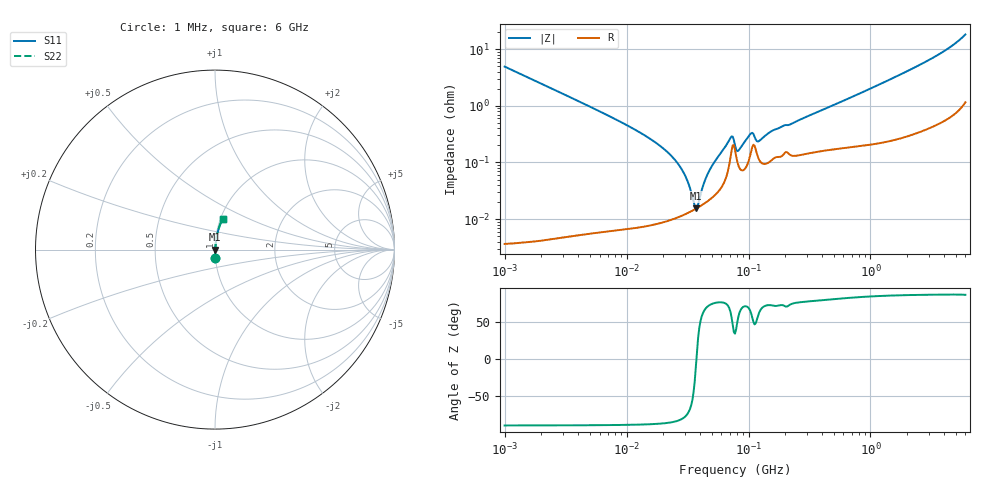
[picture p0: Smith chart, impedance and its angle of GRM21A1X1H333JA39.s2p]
!Murata Part Number: GRM21A1X1H333JA39
!These Parameters are Measured in Series Mode Connection
!Data Generated on Mar 30, 2021
!  o--ll--o
!Port1  Port2
!  o------o
!Operation Temp=25[degC], DC Bias Voltage=0[V]
!Freq. Start=1000[kHz] Stop=6[GHz] 401[Steps]
# Hz S RI R 50
!Freq.(Hz) S11(Real) S11(Imag) S21(Real) S21(Imag) S12(Real) S12(Imag) S22(Real) S22(Imag)
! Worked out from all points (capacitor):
!   401 points, 1 MHz to 6 GHz, reference 50 ohm
!   read as one part in series: C = 32.3 nF near 1.044 MHz
!   lowest |Z| = 15.5 mohm at 36.98 MHz (marker M1)
!   series resonance near 37.39 MHz, so ESL is about 560 pH
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1000000  0.00246 -0.0492  0.9975 0.0492  0.9975 0.0492  0.00246 -0.0492
4293785  0.000181 -0.0113  0.9998 0.0113  0.9998 0.0113  0.000181 -0.0113
1.0704e7  8.55e-05 -0.00423  0.9999 0.00423  0.9999 0.00423  8.55e-05 -0.00423
1.843659e7  8.8e-05 -0.00203  0.9999 0.00203  0.9999 0.00203  8.8e-05 -0.00203
2.341962e7  9.94e-05 -0.00129  0.9999 0.00129  0.9999 0.00129  9.94e-05 -0.00129
2.787038e7  0.000113 -0.000795  0.9999 0.000795  0.9999 0.000795  0.000113 -0.000795
3.107204e7  0.000125 -0.000498  0.9999 0.000498  0.9999 0.000498  0.000125 -0.000498
3.697709e7  0.000152 -3.01e-05  0.9998 3.01e-05  0.9998 3.01e-05  0.000152 -3.01e-05
3.8621e7  0.000161 8.76e-05  0.9998 -8.76e-05  0.9998 -8.76e-05  0.000161 8.76e-05
4.497189e7  0.000199 0.000511  0.9998 -0.000511  0.9998 -0.000511  0.000199 0.000511
5.236714e7  0.000259 0.000975  0.9997 -0.000975  0.9997 -0.000975  0.000259 0.000975
7.100585e7  0.0012 0.00242  0.9988 -0.00242  0.9988 -0.00242  0.0012 0.00242
7.416259e7  0.002 0.00204  0.998 -0.00204  0.998 -0.00204  0.002 0.00204
7.745967e7  0.00167 0.00112  0.9983 -0.00112  0.9983 -0.00112  0.00167 0.00112
8.268215e7  0.000879 0.00136  0.9991 -0.00136  0.9991 -0.00136  0.000879 0.00136
1.050294e8  0.00157 0.00287  0.9984 -0.00287  0.9984 -0.00287  0.00157 0.00287
1.223006e8  0.00111 0.00212  0.9989 -0.00212  0.9989 -0.00212  0.00111 0.00212
1.587717e8  0.00117 0.0035  0.9988 -0.0035  0.9988 -0.0035  0.00117 0.0035
3.325952e8  0.00153 0.00692  0.9985 -0.00692  0.9985 -0.00692  0.00153 0.00692
1.428092e9  0.00319 0.0286  0.9968 -0.0286  0.9968 -0.0286  0.00319 0.0286
3.483508e9  0.0103 0.0755  0.9897 -0.0755  0.9897 -0.0755  0.0103 0.0755
6e9  0.0422 0.1718  0.9578 -0.1718  0.9578 -0.1718  0.0422 0.1718
